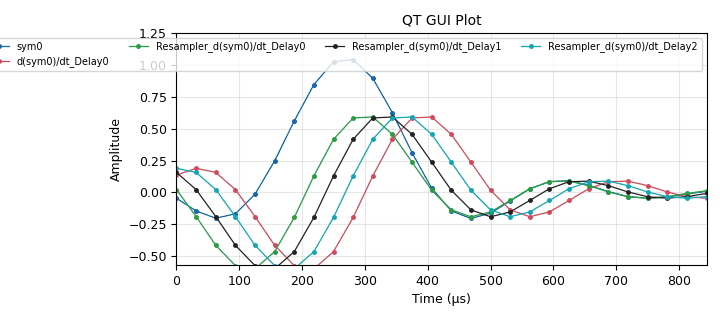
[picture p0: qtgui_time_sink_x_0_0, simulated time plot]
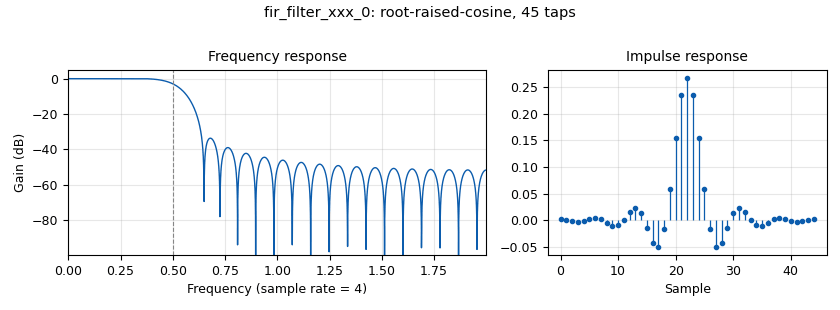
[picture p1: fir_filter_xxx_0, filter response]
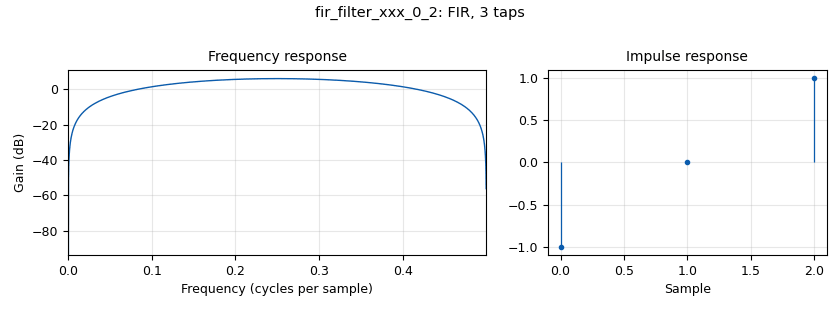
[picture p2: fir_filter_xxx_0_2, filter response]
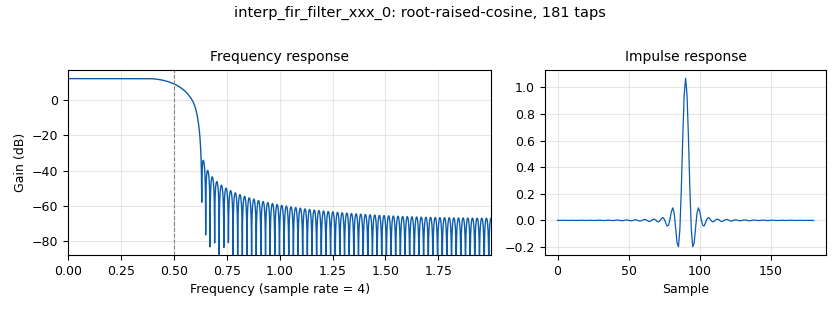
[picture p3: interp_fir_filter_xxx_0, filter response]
<?xml version='1.0' encoding='utf-8'?>
<?grc format='1' created='3.7.10'?>
<flow_graph>
<block>
<key>options</key>
<param><key>id</key><value>Fractional_Resampler_Delay</value></param>
<param><key>category</key><value>Custom</value></param>
<param><key>generate_options</key><value>qt_gui</value></param>
</block>
<block>
<key>variable</key>
<param><key>id</key><value>eb</value></param>
<param><key>value</key><value>0.25</value></param>
</block>
<block>
<key>variable</key>
<param><key>id</key><value>ntaps</value></param>
<param><key>value</key><value>45</value></param>
</block>
<block>
<key>variable</key>
<param><key>id</key><value>rate</value></param>
<param><key>value</key><value>1.2</value></param>
</block>
<block>
<key>variable</key>
<param><key>id</key><value>rrc_rx</value></param>
<param><key>value</key><value>firdes.root_raised_cosine(1.0, sps, 1, eb, ntaps)</value></param>
</block>
<block>
<key>variable</key>
<param><key>id</key><value>rrc_tx</value></param>
<param><key>value</key><value>firdes.root_raised_cosine(sps, sps, 1, eb, sps*ntaps)</value></param>
</block>
<block>
<key>variable</key>
<param><key>id</key><value>samp_rate</value></param>
<param><key>value</key><value>32000</value></param>
</block>
<block>
<key>variable</key>
<param><key>id</key><value>sps</value></param>
<param><key>value</key><value>4</value></param>
</block>
<block>
<key>blocks_delay</key>
<param><key>id</key><value>blocks_delay_0_0</value></param>
<param><key>delay</key><value>0</value></param>
<param><key>type</key><value>float</value></param>
</block>
<block>
<key>blocks_delay</key>
<param><key>id</key><value>blocks_delay_0_0_0</value></param>
<param><key>delay</key><value>0</value></param>
<param><key>type</key><value>float</value></param>
</block>
<block>
<key>blocks_delay</key>
<param><key>id</key><value>blocks_delay_0_0_0_0</value></param>
<param><key>delay</key><value>1</value></param>
<param><key>type</key><value>float</value></param>
</block>
<block>
<key>blocks_delay</key>
<param><key>id</key><value>blocks_delay_0_0_0_0_0</value></param>
<param><key>delay</key><value>0</value></param>
<param><key>type</key><value>float</value></param>
</block>
<block>
<key>blocks_delay</key>
<param><key>id</key><value>blocks_delay_0_0_0_0_1</value></param>
<param><key>delay</key><value>2</value></param>
<param><key>type</key><value>float</value></param>
</block>
<block>
<key>blocks_throttle</key>
<param><key>id</key><value>blocks_throttle_0</value></param>
<param><key>samples_per_second</key><value>samp_rate</value></param>
<param><key>type</key><value>float</value></param>
</block>
<block>
<key>blocks_vector_source_x</key>
<param><key>id</key><value>blocks_vector_source_x_0</value></param>
<param><key>type</key><value>float</value></param>
<param><key>repeat</key><value>True</value></param>
<param><key>vector</key><value>49*[0,] + [1,] + 50*[0,]</value></param>
</block>
<block>
<key>fir_filter_xxx</key>
<param><key>id</key><value>fir_filter_xxx_0</value></param>
<param><key>decim</key><value>1</value></param>
<param><key>taps</key><value>rrc_rx</value></param>
<param><key>type</key><value>fff</value></param>
</block>
<block>
<key>fir_filter_xxx</key>
<param><key>id</key><value>fir_filter_xxx_0_2</value></param>
<param><key>decim</key><value>1</value></param>
<param><key>taps</key><value>[-1, 0, 1]</value></param>
<param><key>type</key><value>fff</value></param>
</block>
<block>
<key>fir_filter_xxx</key>
<param><key>id</key><value>fir_filter_xxx_0_2_0</value></param>
<param><key>decim</key><value>1</value></param>
<param><key>taps</key><value>[-1, 0, 1]</value></param>
<param><key>type</key><value>fff</value></param>
</block>
<block>
<key>fir_filter_xxx</key>
<param><key>id</key><value>fir_filter_xxx_0_2_0_0</value></param>
<param><key>decim</key><value>1</value></param>
<param><key>taps</key><value>[-1, 0, 1]</value></param>
<param><key>type</key><value>fff</value></param>
</block>
<block>
<key>fir_filter_xxx</key>
<param><key>id</key><value>fir_filter_xxx_0_2_0_0_0</value></param>
<param><key>decim</key><value>1</value></param>
<param><key>taps</key><value>[-1, 0, 1]</value></param>
<param><key>type</key><value>fff</value></param>
</block>
<block>
<key>fir_filter_xxx</key>
<param><key>id</key><value>fir_filter_xxx_0_2_1</value></param>
<param><key>decim</key><value>1</value></param>
<param><key>taps</key><value>[1]</value></param>
<param><key>type</key><value>fff</value></param>
</block>
<block>
<key>fractional_resampler_xx</key>
<param><key>id</key><value>fractional_resampler_xx_0</value></param>
<param><key>phase_shift</key><value>0</value></param>
<param><key>resamp_ratio</key><value>1</value></param>
<param><key>type</key><value>float</value></param>
</block>
<block>
<key>fractional_resampler_xx</key>
<param><key>id</key><value>fractional_resampler_xx_0_0</value></param>
<param><key>phase_shift</key><value>0</value></param>
<param><key>resamp_ratio</key><value>1</value></param>
<param><key>type</key><value>float</value></param>
</block>
<block>
<key>fractional_resampler_xx</key>
<param><key>id</key><value>fractional_resampler_xx_0_0_0</value></param>
<param><key>phase_shift</key><value>0</value></param>
<param><key>resamp_ratio</key><value>1</value></param>
<param><key>type</key><value>float</value></param>
</block>
<block>
<key>import</key>
<param><key>id</key><value>import_math</value></param>
<param><key>import</key><value>import math</value></param>
</block>
<block>
<key>interp_fir_filter_xxx</key>
<param><key>id</key><value>interp_fir_filter_xxx_0</value></param>
<param><key>interp</key><value>sps</value></param>
<param><key>taps</key><value>rrc_tx</value></param>
<param><key>type</key><value>fff</value></param>
</block>
<block>
<key>pfb_arb_resampler_xxx</key>
<param><key>id</key><value>pfb_arb_resampler_xxx_0_0_1</value></param>
<param><key>nfilts</key><value>32</value></param>
<param><key>rrate</key><value>rate</value></param>
<param><key>atten</key><value>100</value></param>
<param><key>type</key><value>fff</value></param>
</block>
<block>
<key>qtgui_time_sink_x</key>
<param><key>id</key><value>qtgui_time_sink_x_0_0</value></param>
<param><key>gui_hint</key><value>0,1,1,1</value></param>
<param><key>color1</key><value>"blue"</value></param>
<param><key>label1</key><value>sym0</value></param>
<param><key>marker1</key><value>0</value></param>
<param><key>width1</key><value>2</value></param>
<param><key>color2</key><value>"red"</value></param>
<param><key>label2</key><value>d(sym0)/dt_Delay0</value></param>
<param><key>marker2</key><value>0</value></param>
<param><key>width2</key><value>2</value></param>
<param><key>color3</key><value>"green"</value></param>
<param><key>label3</key><value>Resampler_d(sym0)/dt_Delay0</value></param>
<param><key>marker3</key><value>0</value></param>
<param><key>width3</key><value>2</value></param>
<param><key>color4</key><value>"black"</value></param>
<param><key>label4</key><value>Resampler_d(sym0)/dt_Delay1</value></param>
<param><key>marker4</key><value>0</value></param>
<param><key>width4</key><value>2</value></param>
<param><key>color5</key><value>"cyan"</value></param>
<param><key>label5</key><value>Resampler_d(sym0)/dt_Delay2</value></param>
<param><key>marker5</key><value>0</value></param>
<param><key>width5</key><value>2</value></param>
<param><key>name</key><value>QT GUI Plot</value></param>
<param><key>nconnections</key><value>5</value></param>
<param><key>size</key><value>7*sps</value></param>
<param><key>srate</key><value>samp_rate</value></param>
<param><key>tr_delay</key><value>0.00005*sps</value></param>
<param><key>tr_level</key><value>0.8</value></param>
<param><key>tr_mode</key><value>qtgui.TRIG_MODE_NORM</value></param>
<param><key>type</key><value>float</value></param>
<param><key>update_time</key><value>0.01</value></param>
<param><key>ymax</key><value>1.25</value></param>
<param><key>ymin</key><value>-0.5</value></param>
</block>
<connection><source_block_id>blocks_delay_0_0</source_block_id><sink_block_id>qtgui_time_sink_x_0_0</sink_block_id><source_key>0</source_key><sink_key>0</sink_key></connection>
<connection><source_block_id>blocks_delay_0_0_0</source_block_id><sink_block_id>qtgui_time_sink_x_0_0</sink_block_id><source_key>0</source_key><sink_key>2</sink_key></connection>
<connection><source_block_id>blocks_delay_0_0_0_0</source_block_id><sink_block_id>qtgui_time_sink_x_0_0</sink_block_id><source_key>0</source_key><sink_key>3</sink_key></connection>
<connection><source_block_id>blocks_delay_0_0_0_0_0</source_block_id><sink_block_id>qtgui_time_sink_x_0_0</sink_block_id><source_key>0</source_key><sink_key>1</sink_key></connection>
<connection><source_block_id>blocks_delay_0_0_0_0_1</source_block_id><sink_block_id>qtgui_time_sink_x_0_0</sink_block_id><source_key>0</source_key><sink_key>4</sink_key></connection>
<connection><source_block_id>blocks_throttle_0</source_block_id><sink_block_id>interp_fir_filter_xxx_0</sink_block_id><source_key>0</source_key><sink_key>0</sink_key></connection>
<connection><source_block_id>blocks_vector_source_x_0</source_block_id><sink_block_id>blocks_throttle_0</sink_block_id><source_key>0</source_key><sink_key>0</sink_key></connection>
<connection><source_block_id>fir_filter_xxx_0</source_block_id><sink_block_id>fir_filter_xxx_0_2</sink_block_id><source_key>0</source_key><sink_key>0</sink_key></connection>
<connection><source_block_id>fir_filter_xxx_0</source_block_id><sink_block_id>fir_filter_xxx_0_2_1</sink_block_id><source_key>0</source_key><sink_key>0</sink_key></connection>
<connection><source_block_id>fir_filter_xxx_0</source_block_id><sink_block_id>fractional_resampler_xx_0</sink_block_id><source_key>0</source_key><sink_key>0</sink_key></connection>
<connection><source_block_id>fir_filter_xxx_0</source_block_id><sink_block_id>fractional_resampler_xx_0_0</sink_block_id><source_key>0</source_key><sink_key>0</sink_key></connection>
<connection><source_block_id>fir_filter_xxx_0</source_block_id><sink_block_id>fractional_resampler_xx_0_0_0</sink_block_id><source_key>0</source_key><sink_key>0</sink_key></connection>
<connection><source_block_id>fir_filter_xxx_0_2</source_block_id><sink_block_id>blocks_delay_0_0_0_0_0</sink_block_id><source_key>0</source_key><sink_key>0</sink_key></connection>
<connection><source_block_id>fir_filter_xxx_0_2_0</source_block_id><sink_block_id>blocks_delay_0_0_0</sink_block_id><source_key>0</source_key><sink_key>0</sink_key></connection>
<connection><source_block_id>fir_filter_xxx_0_2_0_0</source_block_id><sink_block_id>blocks_delay_0_0_0_0</sink_block_id><source_key>0</source_key><sink_key>0</sink_key></connection>
<connection><source_block_id>fir_filter_xxx_0_2_0_0_0</source_block_id><sink_block_id>blocks_delay_0_0_0_0_1</sink_block_id><source_key>0</source_key><sink_key>0</sink_key></connection>
<connection><source_block_id>fir_filter_xxx_0_2_1</source_block_id><sink_block_id>blocks_delay_0_0</sink_block_id><source_key>0</source_key><sink_key>0</sink_key></connection>
<connection><source_block_id>fractional_resampler_xx_0</source_block_id><sink_block_id>fir_filter_xxx_0_2_0</sink_block_id><source_key>0</source_key><sink_key>0</sink_key></connection>
<connection><source_block_id>fractional_resampler_xx_0_0</source_block_id><sink_block_id>fir_filter_xxx_0_2_0_0</sink_block_id><source_key>0</source_key><sink_key>0</sink_key></connection>
<connection><source_block_id>fractional_resampler_xx_0_0_0</source_block_id><sink_block_id>fir_filter_xxx_0_2_0_0_0</sink_block_id><source_key>0</source_key><sink_key>0</sink_key></connection>
<connection><source_block_id>interp_fir_filter_xxx_0</source_block_id><sink_block_id>pfb_arb_resampler_xxx_0_0_1</sink_block_id><source_key>0</source_key><sink_key>0</sink_key></connection>
<connection><source_block_id>pfb_arb_resampler_xxx_0_0_1</source_block_id><sink_block_id>fir_filter_xxx_0</sink_block_id><source_key>0</source_key><sink_key>0</sink_key></connection>
</flow_graph>
